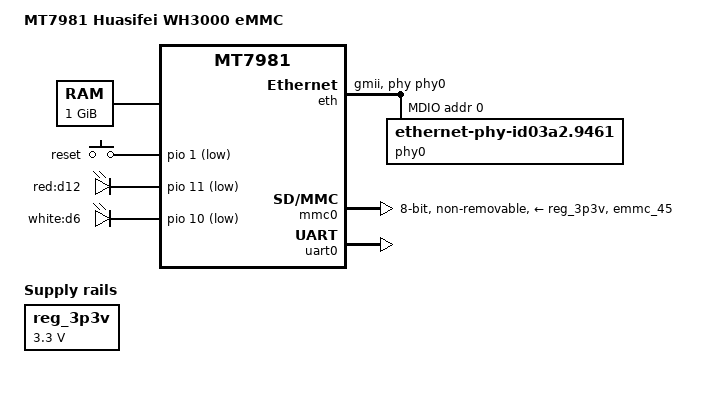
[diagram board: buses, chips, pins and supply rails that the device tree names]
// SPDX-License-Identifier: GPL-2.0-or-later

/dts-v1/;
#include "mt7981.dtsi"
#include <dt-bindings/gpio/gpio.h>
#include <dt-bindings/input/linux-event-codes.h>

/ {
	#address-cells = <1>;
	#size-cells = <1>;
	model = "MT7981 Huasifei WH3000 eMMC";
	compatible = "mediatek,mt7981", "mediatek,mt7981-rfb";

	chosen {
		stdout-path = &uart0;
		tick-timer = &timer0;
	};

	reg_3p3v: regulator-3p3v {
		compatible = "regulator-fixed";
		regulator-name = "fixed-3.3V";
		regulator-min-microvolt = <3300000>;
		regulator-max-microvolt = <3300000>;
		regulator-boot-on;
		regulator-always-on;
	};

	memory@40000000 {
		device_type = "memory";
		reg = <0x40000000 0x40000000>;
	};

	gpio-keys {
		compatible = "gpio-keys";

		button-reset {
			label = "reset";
			linux,code = <KEY_RESTART>;
			gpios = <&pio 1 GPIO_ACTIVE_LOW>;
		};
	};

	gpio-leds {
		compatible = "gpio-leds";

		led-0 {
			label = "red:d12";
			gpios = <&pio 11 GPIO_ACTIVE_LOW>;
			default-state = "off";
		};

		led-1 {
			label = "white:d6";
			gpios = <&pio 10 GPIO_ACTIVE_LOW>;
			default-state = "on";
		};
	};
};

&eth {
	status = "okay";
	mediatek,gmac-id = <1>;
	phy-mode = "gmii";
	phy-handle = <&phy0>;

	mdio {
		phy0: ethernet-phy@0 {
			compatible = "ethernet-phy-id03a2.9461";
			reg = <0x0>;
			phy-mode = "gmii";
		};
	};
};

&mmc0 {
	pinctrl-names = "default";
	pinctrl-0 = <&mmc0_pins_default>;
	max-frequency = <26000000>;
	bus-width = <8>;
	cap-mmc-hw-reset;
	vmmc-supply = <&reg_3p3v>;
	non-removable;
	status = "okay";
};

&pio {
	mmc0_pins_default: mmc0default {
		mux {
			function = "flash";
			groups = "emmc_45";
		};
	};
};

&uart0 {
	mediatek,force-highspeed;
	status = "okay";
};

&watchdog {
	status = "disabled";
};
